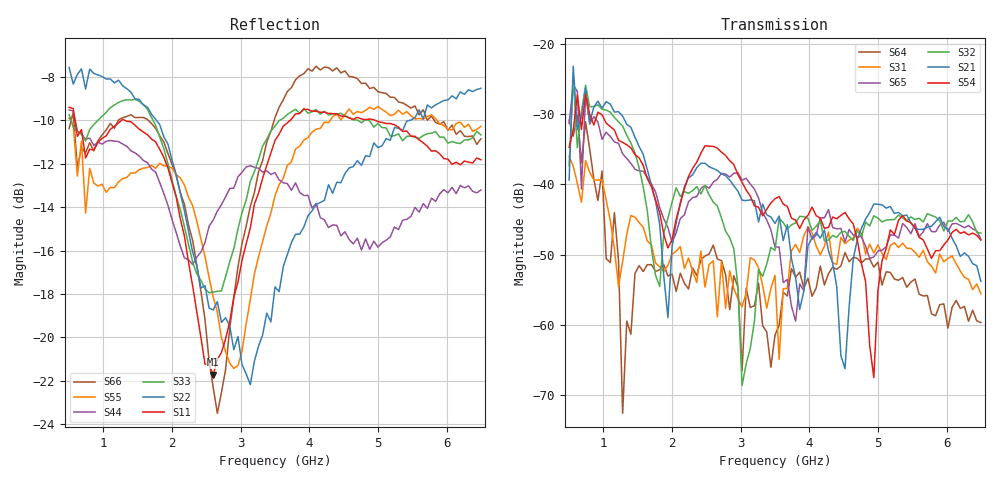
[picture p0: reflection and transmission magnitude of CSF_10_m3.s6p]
!Keysight Technologies,M9804A,MY58100912,A.14.10.03
!Date: Thursday, April 27, 2023 10:28:33
!Correction: S11(C  6-Port  )
!S12(C  6-Port  )
!S13(C  6-Port  )
!S14(C  6-Port  )
!S15(C  6-Port  )
!S16(C  6-Port  )
!S21(C  6-Port  )
!S22(C  6-Port  )
!S23(C  6-Port  )
!S24(C  6-Port  )
!S25(C  6-Port  )
!S26(C  6-Port  )
!S31(C  6-Port  )
!S32(C  6-Port  )
!S33(C  6-Port  )
!S34(C  6-Port  )
!S35(C  6-Port  )
!S36(C  6-Port  )
!S41(C  6-Port  )
!S42(C  6-Port  )
!S43(C  6-Port  )
!S44(C  6-Port  )
!S45(C  6-Port  )
!S46(C  6-Port  )
!S51(C  6-Port  )
!S52(C  6-Port  )
!S53(C  6-Port  )
!S54(C  6-Port  )
!S55(C  6-Port  )
!S56(C  6-Port  )
!S61(C  6-Port  )
!S62(C  6-Port  )
!S63(C  6-Port  )
!S64(C  6-Port  )
!S65(C  6-Port  )
!S66(C  6-Port  )
!S6P File: Measurement: :
# Hz S  RI  R 50
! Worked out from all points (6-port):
!   101 points, 500 MHz to 6.5 GHz, reference 50 ohm
!   strongest paths, dB at 500 MHz, 2 GHz, 3.5 GHz, 5 GHz, 6.5 GHz:
!     S54: -34.7, -47.9, -42.0, -55.2, -47.9
!     S21: -39.4, -48.8, -45.5, -42.8, -53.8
!     S32: -37.3, -42.5, -49.4, -44.8, -46.9
!     S65: -31.2, -48.2, -48.9, -49.5, -47.8
!     S31: -36.0, -49.9, -53.0, -48.6, -55.6
!     S64: -30.8, -52.8, -61.5, -51.1, -59.7
!   lowest |S11| = -21.7 dB at 2.6 GHz (marker M1), VSWR 1.18, Z = 42.7 + j1.99 ohm
!   |S11| at or under -10 dB: 585.3 MHz to 1.264 GHz (678.3 MHz wide, 73.4 % of centre); 1.311 GHz to 3.721 GHz (2.41 GHz wide, 95.8 % of centre); 4.959 GHz to end of sweep
